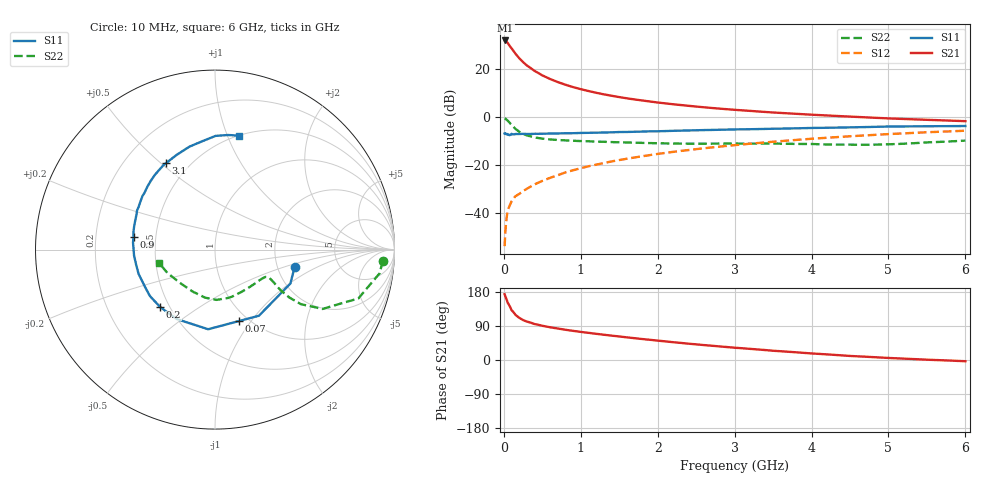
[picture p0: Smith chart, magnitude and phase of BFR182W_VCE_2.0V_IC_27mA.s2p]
! Infineon Technologies  Discrete & RF Semiconductors
! BFR182W
! VCE =  2.0 V,  IC =  27 mA
! Common Emitter S-Parameters:  Jan 2017
# GHz  S  MA  R  50
!  f  S11  S21  S12  S22
! GHz  MAG  ANG  MAG  ANG  MAG  ANG  MAG  ANG
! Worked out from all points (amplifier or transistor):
!   77 points, 10 MHz to 6 GHz, reference 50 ohm
!   highest |S21| = 32.0 dB at 20 MHz (marker M1)
!   |S21| within 3 dB of that: start of sweep to 93.22 MHz
!   unconditionally stable (mu >= 1): 457.3 MHz to 2.498 GHz
!   at 130 MHz: K = 0.55, MSG = 30.7 dB, |S12| = -33.9 dB
!   at 2.2 GHz: K = 1.03, MAG = 8.9 dB, |S12| = -14.6 dB
!   at 6 GHz: K = 0.91, MSG = 2.0 dB, |S12| = -5.7 dB
!   S11 on the Smith chart (normalised r, x): 10 MHz: 2.49, -0.61; 70 MHz: 0.90, -0.87; 200 MHz: 0.45, -0.35; 900 MHz: 0.37, +0.07; 3.1 GHz: 0.37, +0.52; 6 GHz: 0.50, +1.10
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0.01  0.4542 -12.3  39.88 173.7  0.002 78.3  0.937 -3.8
0.02  0.4606 -24.3  39.89 167.8  0.0041 83.4  0.9267 -8.2
0.05  0.4424 -56.4  35.44 151.2  0.011 72.2  0.8441 -18.8
0.07  0.4198 -71.7  31.78 144.5  0.0134 67.6  0.7775 -22.3
0.1  0.4454 -94.9  27.36 131.5  0.0172 63.2  0.6845 -28.9
0.15  0.4419 -118.9  21.19 119.3  0.0221 59.4  0.5674 -32.4
0.2  0.4424 -133.6  16.96 111.3  0.0247 61.2  0.4938 -32.8
0.25  0.4454 -144.4  14.07 105.4  0.0284 61.1  0.4458 -32.1
0.3  0.442 -151.8  11.94 101.3  0.0317 63.0  0.4126 -31.1
0.4  0.4468 -162.5  9.189 94.9  0.0391 66.0  0.375 -29.2
0.5  0.4478 -170.1  7.429 90.3  0.0463 67.8  0.3539 -28.1
0.6  0.4523 -176.0  6.253 86.4  0.0535 68.8  0.3406 -27.5
0.7  0.4539 179.4  5.388 83.1  0.0608 70.4  0.3317 -27.5
0.9  0.4595 171.1  4.223 76.9  0.0773 71.6  0.3197 -28.5
1.1  0.4681 164.5  3.498 71.7  0.0935 71.9  0.3115 -30.6
1.3  0.475 158.4  2.981 66.7  0.109 71.7  0.304 -33.4
1.5  0.486 153.4  2.611 62.1  0.1261 71.1  0.2965 -36.9
2.1  0.5094 139.0  1.931 49.1  0.1781 67.9  0.2814 -50.7
3.1  0.5536 119.5  1.38 31.0  0.2675 59.9  0.2782 -77.9
4.1  0.5938 102.4  1.099 16.1  0.3603 50.1  0.2699 -104.8
5.1  0.6348 88.4  0.923 4.5  0.4481 39.2  0.2727 -140.6
6  0.6494 77.9  0.82 -3.2  0.5176 29.0  0.3219 -166.9
